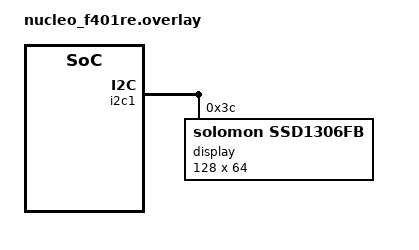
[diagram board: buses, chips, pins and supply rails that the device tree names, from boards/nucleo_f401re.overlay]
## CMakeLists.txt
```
# SPDX-License-Identifier: Apache-2.0
set(BOARD nucleo_f401re)

cmake_minimum_required(VERSION 3.20.0)
find_package(Zephyr REQUIRED HINTS $ENV{ZEPHYR_BASE})
include(FetchContent)

project(blinky LANGUAGES C CXX)

set(LV_CONF_PATH ${CMAKE_CURRENT_SOURCE_DIR}/src/lv_conf.h CACHE STRING "" FORCE)

message(STATUS "LV_CONF_PATH set to: ${LV_CONF_PATH}")

set(LV_VERSION "v9.0.0") # this string represents the Tag name of the release desired - Change the GIT_TAG below as well
message("Fetching LVGL " ${LV_VERSION})

# Store the original value of ZEPHYR_BASE
set(ORIGINAL_ZEPHYR_BASE "${ZEPHYR_BASE}")

# Temporarily unset ZEPHYR_BASE
unset(ZEPHYR_BASE CACHE)

# Fetch lvgl
#FetchContent_Declare(
#        lvgl
##        GIT_REPOSITORY https://github.com/lvgl/lvgl
#        GIT_TAG       v9.0.0
#)

#FetchContent_MakeAvailable(
#        lvgl
#)
#message("Fetching LVGL Done")#
#
#message("lvgl " ${lvgl_SOURCE_DIR})
target_sources(app PRIVATE
        src/main.c
#        gp9002a/gp9002a.c
)


# Add LVGL as a static library
#target_include_directories(app PRIVATE ${lvgl_SOURCE_DIR}/src)
target_include_directories(app PRIVATE ${CMAKE_CURRENT_SOURCE_DIR}/src)

#target_link_libraries(app PRIVATE lvgl)
```

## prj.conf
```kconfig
CONFIG_GPIO=y
CONFIG_SPI=y
CONFIG_STDOUT_CONSOLE=y
CONFIG_PRINTK=y

CONFIG_LOG=y

CONFIG_LOG_DEFAULT_LEVEL=3 
#
# # Enable backend (UART for Nucleo)
CONFIG_LOG_BACKEND_UART=y
CONFIG_SERIAL=y
CONFIG_UART_CONSOLE=y

#CONFIG_LVGL=y
CONFIG_LIB_GP9002A=y
```

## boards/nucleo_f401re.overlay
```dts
&i2c1 {

        display: ssd1306@78 {
                compatible = "solomon,ssd1306fb";
                reg = <0x3C>;
                height = <64>;
                width = <128>;
                segment-offset = <0>;
                page-offset = <0>;
                display-offset = <0>;
                multiplex-ratio = <63>;
                prechargep = <0x22>;
                com-invdir;
                segment-remap;
        };
};
```

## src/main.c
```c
/*
 * Copyright (c) 2016 Intel Corporation
 *
 * SPDX-License-Identifier: Apache-2.0
 */

#include <zephyr/kernel.h>
#include <zephyr/drivers/gpio.h>
#include <zephyr/drivers/spi.h>
#include "gp9002a.h"
#include <zephyr/logging/log.h>
LOG_MODULE_REGISTER(my_app);
//#include "lvgl.h"

void main(void)
{
        gp9002a_init();

        gp9002a_draw_pixel(30, 2);
        gp9002a_draw_pixel(31, 2);
        gp9002a_draw_pixel(30, 3);
        gp9002a_draw_pixel(31, 3);
        gp9002a_draw_pixel(30, 4);
        gp9002a_draw_pixel(31, 4);
        gp9002a_draw_pixel(30, 5);
        gp9002a_draw_pixel(31, 5);
        gp9002a_draw_pixel(28, 2);
        gp9002a_draw_pixel(29, 2);
        gp9002a_draw_pixel(28, 3);
        gp9002a_draw_pixel(29, 3);
        gp9002a_draw_pixel(32, 2);
        gp9002a_draw_pixel(33, 2);
        gp9002a_draw_pixel(32, 3);
        gp9002a_draw_pixel(33, 3);
        gp9002a_draw_pixel(126, 2);
        gp9002a_draw_pixel(127, 2);
        gp9002a_draw_pixel(126, 3);
        gp9002a_draw_pixel(127, 3);
        gp9002a_draw_pixel(126, 60);
        gp9002a_draw_pixel(127, 61);
        gp9002a_draw_pixel(126, 60);
        gp9002a_draw_pixel(127, 61);

        for (;;){

                // lv_task_handler();
            k_msleep(100);

        }
}
```
